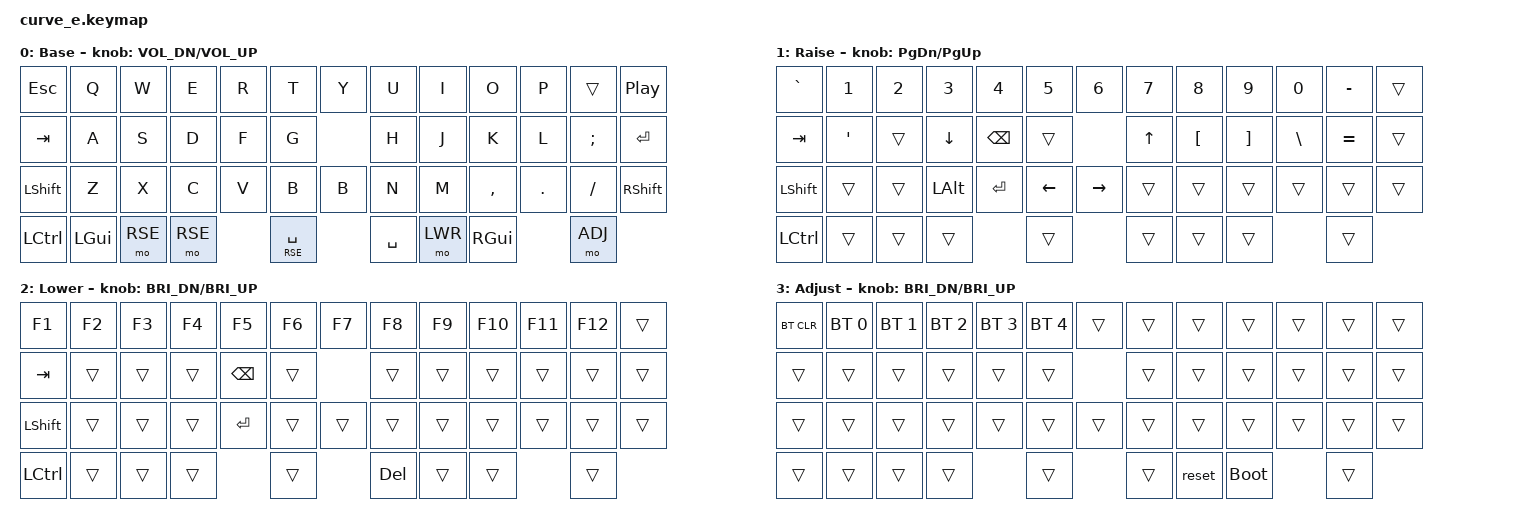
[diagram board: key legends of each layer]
/*
# Copyright (c) 2021 The ZMK Contributors
*
* SPDX-License-Identifier: MIT
*/

#include <behaviors.dtsi>
#include <dt-bindings/zmk/keys.h>
// #include <dt-bindings/zmk/rgb.h>
#include <dt-bindings/zmk/bt.h>
#include <dt-bindings/zmk/outputs.h>
#include <dt-bindings/zmk/ext_power.h>

#define RSE 1
#define LWR 2
#define ADJ 3

/ {

	keymap {
		compatible = "zmk,keymap";

		default_layer {
			label = "Base";
			bindings = <
				&kp ESC		&kp Q    &kp W    &kp E    &kp R     &kp T       &kp Y    &kp U  &kp I  &kp O  	  &kp P      &trans  &kp C_PP
			    &kp TAB     &kp A    &kp S    &kp D    &kp F     &kp G       &kp H    &kp J  &kp K  &kp L     &kp SEMI   	       &kp ENTER   
			    &kp LSHIFT  &kp Z    &kp X 	  &kp C    &kp V     &kp B       &kp B    &kp N  &kp M  &kp COMMA &kp PERIOD &kp SLASH &kp RSHIFT
			    &kp LCTRL   	&kp LGUI &mo RSE  &mo RSE     &lt RSE SPACE       &kp SPACE &mo LWR  &kp RGUI            &mo ADJ
			>;
                     sensor-bindings = <&inc_dec_kp C_VOL_DN C_VOL_UP>;
		};

		raise_layer {
			label = "Raise";
			bindings = <
				&kp GRAVE	&kp N1   &kp N2   &kp N3   &kp N4    &kp N5      &kp N6   &kp N7 &kp N8 &kp N9    &kp N0     &kp MINUS &trans
			    &kp TAB     &kp SQT   &trans   &kp DOWN   &kp BSPC    &trans      &kp UP   &kp LBKT &kp RBKT &kp BSLH    &kp EQUAL     	       &trans   
			    &kp LSHIFT  &trans   &trans   &kp LALT   &kp ENTER   &kp LEFT     &kp RIGHT   &trans &trans &trans    &trans     &trans	   &trans
			    &kp LCTRL   		          &trans   &trans    &trans      &trans   &trans       &trans    &trans                &trans
			>;
                     sensor-bindings = <&inc_dec_kp PG_DN PG_UP>;
		};

		lower_layer {
			label = "Lower";
			bindings = <
				&kp F1	&kp F2 &kp F3  &kp F4  &kp F5  &kp F6   &kp F7 &kp F8 &kp F9 &kp F10  &kp F11 &kp F12 &trans
			    &kp TAB     &trans   &trans   &trans   &kp BSPC   &trans      &trans    &trans   &trans          &trans    &trans     	     &trans   
			    &kp LSHIFT  &trans   &trans   &trans   &kp ENTER    &trans      &trans    &trans   &trans          &trans    &trans   &trans	 &trans
			    &kp LCTRL   		 &trans   &trans   &trans    &trans      &kp DEL 		                    &trans    &trans             &trans
			>;
                     sensor-bindings = <&inc_dec_kp C_BRI_DN C_BRI_UP>;
		};

		adjust_layer {
			label = "Adjust";
			bindings = <
				&bt BT_CLR 	  &bt BT_SEL 0 &bt BT_SEL 1 &bt BT_SEL 2 &bt BT_SEL 3 &bt BT_SEL 4 &trans &trans &trans &trans &trans &trans &trans
		 		&trans &trans &trans &trans &trans &trans &trans &trans &trans &trans &trans        &trans   
	     		&trans &trans &trans &trans &trans &trans &trans &trans &trans &trans &trans &trans &trans
			    &trans 		              &trans       &trans       &trans       &trans &trans      &reset &bootloader   &trans   
			>;
                     sensor-bindings = <&inc_dec_kp C_BRI_DN C_BRI_UP>;
		};
	};
};
